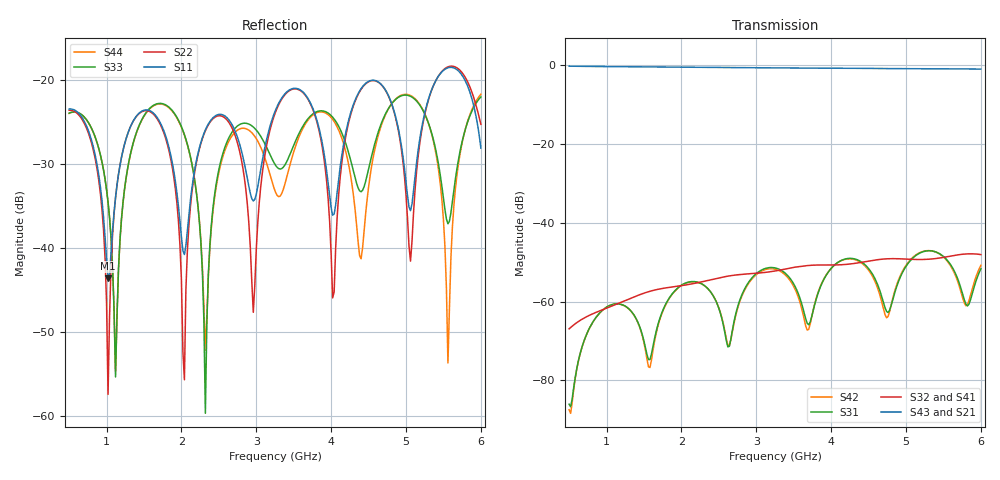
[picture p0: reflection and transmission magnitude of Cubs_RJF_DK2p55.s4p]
! Created Tue May  6 11:27:54 2025
# mhz S ma R 50
! 4 Port Network Data from SP1.SP block
! freq  magS11  angS11  magS12  angS12  magS13  angS13  magS14  angS14
!  magS21  angS21  magS22  angS22  magS23  angS23  magS24  angS24
!  magS31  angS31  magS32  angS32  magS33  angS33  magS34  angS34
!  magS41  angS41  magS42  angS42  magS43  angS43  magS44  angS44
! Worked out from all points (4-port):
!   276 points, 500 MHz to 6 GHz, reference 50 ohm
!   strongest paths, dB at 500 MHz, 1.88 GHz, 3.26 GHz, 4.64 GHz, 6 GHz:
!     S43: -0.2, -0.5, -0.6, -0.8, -1.0
!     S21: -0.2, -0.5, -0.7, -0.9, -1.0
!     S32: -66.9, -56.3, -52.2, -49.3, -48.1
!     S41: -66.9, -56.3, -52.3, -49.4, -48.0
!     S31: -86.1, -58.0, -51.5, -56.7, -51.7
!     S42: -87.5, -58.1, -51.8, -57.7, -50.8
!   lowest |S11| = -43.6 dB at 1.02 GHz (marker M1), VSWR 1.01, Z = 49.3 + j0.0468 ohm
!   |S11| at or under -10 dB: start of sweep to end of sweep
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500  0.06726 -165.3  0.9732 -89.1  4.969e-05 63.9  0.0004498 -177.5
     0.9732 -89.1  0.06616 -170.1  0.0004497 -177.6  4.22e-05 60.2
     4.969e-05 63.9  0.0004497 -177.6  0.06353 -161.5  0.9752 -83.4
     0.0004498 -177.5  4.22e-05 60.2  0.9752 -83.4  0.06339 -162.1
1020  0.006639 175.9  0.9607 179.3  0.0008714 93.3  0.0008421 92.7
      0.9607 179.3  0.001354 24.2  0.0008384 92.7  0.0008683 93.2
      0.0008714 93.3  0.0008384 92.7  0.01881 114.3  0.9631 -169.1
      0.0008421 92.7  0.0008683 93.2  0.9631 -169.1  0.0188 113.2
2160  0.02626 -122.0  0.9395 -21.0  0.001794 80.6  0.001693 -100.2
      0.9395 -21.0  0.02522 -108.6  0.00169 -100.3  0.001782 81.8
      0.001794 80.6  0.00169 -100.3  0.02839 104.7  0.9431 3.4
      0.001693 -100.2  0.001782 81.8  0.9431 3.4  0.02829 99.3
3060  0.02953 -126.7  0.9263 -179.0  0.002483 106.5  0.002296 106.8
      0.9263 -179.0  0.02334 -74.9  0.002313 106.8  0.002406 106.1
      0.002483 106.5  0.002313 106.8  0.04625 160.2  0.9304 -144.4
      0.002296 106.8  0.002406 106.1  0.9304 -144.4  0.03981 105.2
4380  0.08614 -146.7  0.9065 -50.4  0.003287 69.5  0.00311 -114.3
      0.9065 -50.4  0.08525 -137.2  0.003119 -114.7  0.003201 69.5
      0.003287 69.5  0.003119 -114.7  0.02195 154.9  0.9155 -1.0
      0.00311 -114.3  0.003201 69.5  0.9155 -1.0  0.009032 36.0
5560  0.1183 -172.9  0.8898 102.9  0.003265 54.8  0.003768 46.1
      0.8898 102.9  0.1198 -159.8  0.003722 46.5  0.003177 56.5
      0.003265 54.8  0.003722 46.5  0.01399 141.7  0.903 165.5
      0.003768 46.1  0.003177 56.5  0.903 165.5  0.00208 169.6
6000  0.0394 108.4  0.8902 26.0  0.002606 132.8  0.004 -31.9
      0.8902 26.0  0.05458 158.0  0.003944 -33.2  0.002886 135.1
      0.002606 132.8  0.003944 -33.2  0.07937 152.7  0.8957 93.3
      0.004 -31.9  0.002886 135.1  0.8957 93.3  0.08242 -147.2
